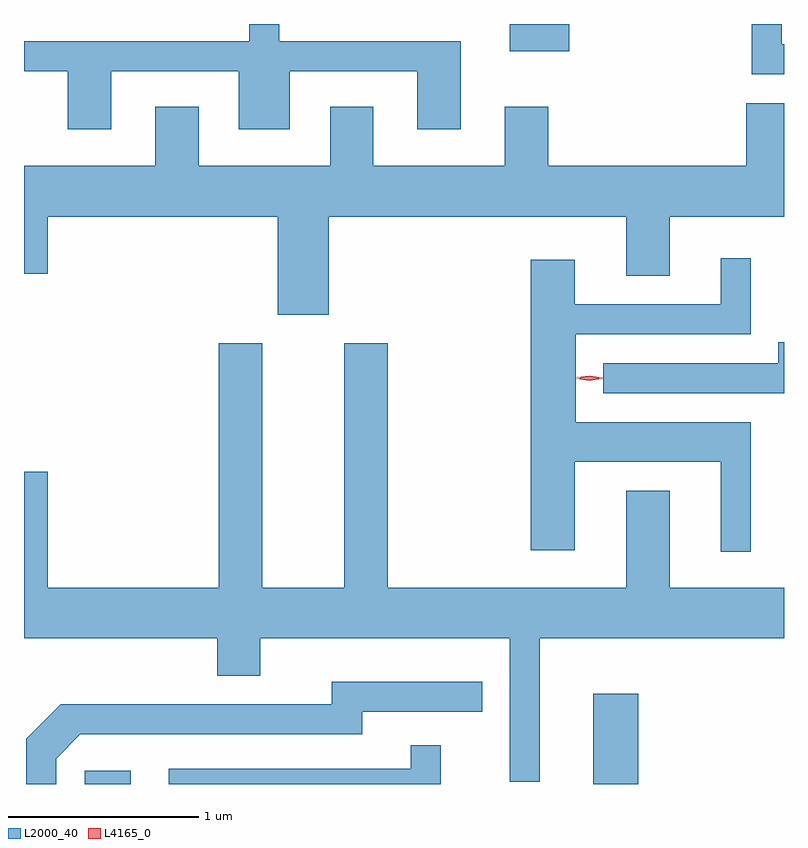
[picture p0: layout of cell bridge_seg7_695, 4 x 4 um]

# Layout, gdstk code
import gdstk
lib = gdstk.Library(unit=1e-6, precision=1e-09)
def R(c, l, rs):  # rectangles x0, y0, x1, y1
    for r in rs: c.add(gdstk.rectangle(r[:2], r[2:], *l))
def P(c, l, *ps):  # polygons
    for p in ps: c.add(gdstk.Polygon(p, *l))
L2000_40 = (2000, 40)
L4165_0 = (4165, 0)

bridge_seg7_695 = lib.new_cell('bridge_seg7_695')
R(bridge_seg7_695, L2000_40, [(874.881,1673.59,875.123,1673.659), (877.556,1673.59,877.794,1674.064), (877.116,1677.446,877.429,1677.59)])
P(bridge_seg7_695, L2000_40, [(875.019,1677.341),(875.691,1677.341),(875.691,1677.036),(875.959,1677.036),(875.959,1677.341),(876.631,1677.341),(876.631,1677.036),(876.859,1677.036),(876.859,1677.499),(875.904,1677.499),(875.904,1677.59),(875.746,1677.59),(875.746,1677.499),(874.56,1677.499),(874.56,1677.341),(874.791,1677.341),(874.791,1677.036),(875.019,1677.036)],
  [(878.56,1677.484),(878.549,1677.484),(878.549,1677.59),(878.391,1677.59),(878.391,1677.326),(878.56,1677.326)],
  [(876.164,1676.576),(877.731,1676.576),(877.731,1676.266),(877.959,1676.266),(877.959,1676.576),(878.56,1676.576),(878.56,1677.174),(878.361,1677.174),(878.361,1676.844),(877.319,1676.844),(877.319,1677.154),(877.091,1677.154),(877.091,1676.844),(876.399,1676.844),(876.399,1677.154),(876.171,1677.154),(876.171,1676.844),(875.479,1676.844),(875.479,1677.154),(875.251,1677.154),(875.251,1676.844),(874.56,1676.844),(874.56,1676.276),(874.684,1676.276),(874.684,1676.576),(875.896,1676.576),(875.896,1676.061),(876.164,1676.061)],
  [(878.384,1675.494),(877.464,1675.494),(877.464,1675.956),(878.384,1675.956),(878.384,1676.358),(878.226,1676.358),(878.226,1676.114),(877.459,1676.114),(877.459,1676.349),(877.226,1676.349),(877.226,1674.821),(877.459,1674.821),(877.459,1675.286),(878.226,1675.286),(878.226,1674.813),(878.384,1674.813)],
  [(878.56,1675.914),(878.531,1675.914),(878.531,1675.804),(877.608,1675.804),(877.608,1675.646),(878.56,1675.646)],
  [(877.274,1674.356),(878.56,1674.356),(878.56,1674.624),(877.959,1674.624),(877.959,1675.134),(877.731,1675.134),(877.731,1674.624),(876.474,1674.624),(876.474,1675.909),(876.246,1675.909),(876.246,1674.624),(875.814,1674.624),(875.814,1675.909),(875.586,1675.909),(875.586,1674.624),(874.684,1674.624),(874.684,1675.234),(874.56,1675.234),(874.56,1674.356),(875.576,1674.356),(875.576,1674.161),(875.804,1674.161),(875.804,1674.356),(877.116,1674.356),(877.116,1673.603),(877.274,1673.603)],
  [(874.729,1673.724),(874.857,1673.851),(876.339,1673.851),(876.339,1673.971),(876.973,1673.971),(876.973,1674.129),(876.181,1674.129),(876.181,1674.009),(874.754,1674.009),(874.571,1673.827),(874.571,1673.59),(874.729,1673.59)],
  [(876.754,1673.793),(876.596,1673.793),(876.596,1673.669),(875.323,1673.669),(875.323,1673.59),(876.754,1673.59)])
P(bridge_seg7_695, L4165_0, [(877.536,1675.713),(877.47,1675.722),(877.47,1675.723),(877.47,1675.723),(877.536,1675.733),(877.602,1675.723),(877.603,1675.723),(877.602,1675.722)],
  [(877.537,1675.719),(877.468,1675.73),(877.467,1675.73),(877.468,1675.731),(877.537,1675.74),(877.606,1675.729),(877.606,1675.729),(877.606,1675.728)])

lib.write_gds('bridge_seg7_695.gds')
